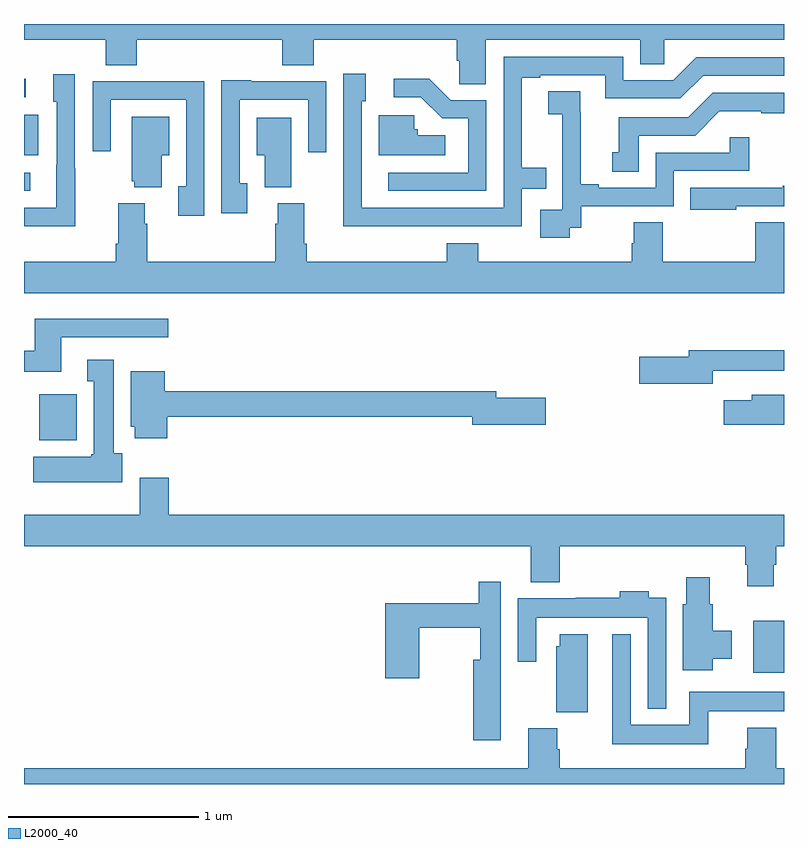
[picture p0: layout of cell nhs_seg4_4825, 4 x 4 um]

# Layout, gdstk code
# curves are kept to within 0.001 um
import gdstk
lib = gdstk.Library(unit=1e-6, precision=1e-09)
def R(c, l, rs):  # rectangles x0, y0, x1, y1
    for r in rs: c.add(gdstk.rectangle(r[:2], r[2:], *l))
def P(c, l, *ps):  # polygons
    for p in ps: c.add(gdstk.Polygon(p, *l))
L2000_40 = (2000, 40)

nhs_seg4_4825 = lib.new_cell('nhs_seg4_4825')
R(nhs_seg4_4825, L2000_40, [(374.837,797.486,375,797.758), (371.081,798.71,371.278,798.952), (371,800.022,371.032,800.118), (371,800.21,371.074,800.422), (371,800.514,371.008,800.612)])
P(nhs_seg4_4825, L2000_40, [(373.429,800.816),(374.243,800.816),(374.243,800.689),(374.37,800.689),(374.37,800.816),(375,800.816),(375,800.9),(371,800.9),(371,800.816),(371.429,800.816),(371.429,800.683),(371.594,800.683),(371.594,800.816),(372.359,800.816),(372.359,800.683),(372.524,800.683),(372.524,800.816),(373.277,800.816),(373.277,800.707),(373.29,800.707),(373.29,800.584),(373.429,800.584)],
  [(373.142,799.836),(373.62,799.836),(373.62,800.034),(373.748,800.034),(373.748,800.143),(373.621,800.143),(373.621,800.616),(373.717,800.616),(373.717,800.631),(374.058,800.631),(374.058,800.508),(374.454,800.508),(374.574,800.628),(375,800.628),(375,800.724),(374.538,800.724),(374.418,800.604),(374.154,800.604),(374.154,800.727),(373.524,800.727),(373.524,799.932),(372.777,799.932),(372.777,800.493),(372.799,800.493),(372.799,800.638),(372.681,800.638),(372.68,799.835)],
  [(371.271,800.141),(371.268,800.141),(371.268,800.635),(371.153,800.635),(371.153,800.49),(371.172,800.49),(371.172,800.159),(371.171,800.159),(371.171,799.932),(371,799.932),(371,799.835),(371.271,799.835)],
  [(373.434,800.499),(373.245,800.499),(373.132,800.612),(372.945,800.612),(372.945,800.514),(373.089,800.514),(373.2,800.403),(373.338,800.403),(373.338,800.118),(372.918,800.118),(372.918,800.022),(373.434,800.022)],
  [(372.175,800.061),(372.135,800.061),(372.135,800.502),(372.495,800.502),(372.495,800.226),(372.591,800.226),(372.591,800.598),(372.195,800.598),(372.195,800.605),(372.039,800.605),(372.039,799.905),(372.175,799.905)],
  [(371.949,800.6),(371.677,800.6),(371.677,800.598),(371.361,800.598),(371.361,800.229),(371.457,800.229),(371.457,800.502),(371.853,800.502),(371.853,800.046),(371.813,800.046),(371.813,799.89),(371.949,799.89)],
  [(373.872,799.827),(373.934,799.827),(373.934,799.941),(374.421,799.941),(374.421,800.127),(374.816,800.127),(374.816,800.305),(374.715,800.305),(374.715,800.223),(374.325,800.223),(374.325,800.037),(374.026,800.037),(374.026,800.057),(373.93,800.057),(373.93,800.435),(373.928,800.435),(373.928,800.546),(373.758,800.546),(373.758,800.425),(373.832,800.425),(373.832,800.227),(373.833,800.227),(373.833,799.923),(373.716,799.923),(373.716,799.776),(373.872,799.776)],
  [(374.236,800.313),(374.532,800.313),(374.66,800.441),(374.879,800.441),(374.879,800.43),(375,800.43),(375,800.538),(374.625,800.538),(374.496,800.409),(374.129,800.409),(374.129,800.226),(374.096,800.226),(374.096,800.122),(374.236,800.122)],
  [(373.216,800.314),(373.072,800.314),(373.072,800.346),(373.053,800.346),(373.053,800.421),(372.866,800.421),(372.866,800.21),(373.216,800.21)],
  [(371.725,800.21),(371.764,800.21),(371.764,800.413),(371.567,800.413),(371.567,800.073),(371.579,800.073),(371.579,800.042),(371.725,800.042)],
  [(372.406,800.407),(372.224,800.407),(372.224,800.21),(372.266,800.21),(372.266,800.041),(372.406,800.041)],
  [(374.749,799.941),(375,799.941),(375,800.05),(374.993,800.05),(374.993,800.037),(374.506,800.037),(374.506,799.922),(374.749,799.922)],
  [(375,799.856),(374.849,799.856),(374.849,799.648),(374.363,799.648),(374.363,799.856),(374.21,799.856),(374.21,799.746),(374.198,799.746),(374.198,799.648),(373.391,799.648),(373.391,799.747),(373.226,799.747),(373.226,799.648),(372.488,799.648),(372.488,799.744),(372.475,799.744),(372.475,799.956),(372.335,799.956),(372.335,799.85),(372.323,799.85),(372.323,799.648),(371.648,799.648),(371.648,799.85),(371.635,799.85),(371.635,799.957),(371.495,799.957),(371.495,799.744),(371.483,799.744),(371.483,799.648),(371,799.648),(371,799.484),(375,799.484)],
  [(371.197,799.251),(371.758,799.251),(371.758,799.348),(371.057,799.348),(371.057,799.18),(371,799.18),(371,799.07),(371.197,799.07)],
  [(374.626,799.074),(375,799.074),(375,799.183),(374.498,799.183),(374.498,799.149),(374.238,799.149),(374.238,799.007),(374.626,799.007)],
  [(371.518,798.642),(371.473,798.642),(371.473,799.132),(371.333,799.132),(371.333,799.019),(371.366,799.019),(371.366,798.636),(371.353,798.636),(371.353,798.622),(371.049,798.622),(371.049,798.488),(371.518,798.488)],
  [(371.753,798.832),(373.358,798.832),(373.358,798.79),(373.747,798.79),(373.747,798.932),(373.486,798.932),(373.486,798.968),(371.74,798.968),(371.74,799.072),(371.561,799.072),(371.561,798.78),(371.582,798.78),(371.582,798.72),(371.753,798.72)],
  [(375,798.948),(374.831,798.948),(374.831,798.919),(374.682,798.919),(374.682,798.79),(375,798.79)],
  [(374.947,798.054),(374.96,798.054),(374.96,798.152),(375,798.152),(375,798.316),(371.762,798.316),(371.762,798.511),(371.609,798.511),(371.609,798.316),(371,798.316),(371,798.152),(373.667,798.152),(373.667,797.963),(373.82,797.963),(373.82,798.152),(374.795,798.152),(374.795,798.054),(374.807,798.054),(374.807,797.94),(374.947,797.94)],
  [(374.626,797.558),(374.725,797.558),(374.725,797.706),(374.626,797.706),(374.626,797.847),(374.608,797.847),(374.608,797.989),(374.486,797.989),(374.486,797.847),(374.468,797.847),(374.468,797.499),(374.626,797.499)],
  [(373.51,797.45),(373.509,797.45),(373.509,797.965),(373.393,797.965),(373.393,797.851),(372.902,797.851),(372.902,797.457),(373.08,797.457),(373.08,797.722),(373.401,797.722),(373.401,797.554),(373.364,797.554),(373.364,797.13),(373.51,797.13)],
  [(374.379,797.881),(374.287,797.881),(374.287,797.914),(374.135,797.914),(374.135,797.881),(373.903,797.881),(373.903,797.878),(373.599,797.878),(373.599,797.544),(373.695,797.544),(373.695,797.774),(374.283,797.774),(374.283,797.297),(374.379,797.297)],
  [(374.6,797.282),(375,797.282),(375,797.386),(374.502,797.386),(374.502,797.212),(374.193,797.212),(374.193,797.689),(374.096,797.689),(374.096,797.108),(374.6,797.108)],
  [(373.966,797.689),(373.82,797.689),(373.82,797.625),(373.802,797.625),(373.802,797.278),(373.966,797.278)],
  [(375,796.984),(374.96,796.984),(374.96,797.197),(374.807,797.197),(374.807,797.085),(374.795,797.085),(374.795,796.984),(373.82,796.984),(373.82,797.084),(373.807,797.084),(373.807,797.193),(373.655,797.193),(373.655,796.984),(371,796.984),(371,796.9),(375,796.9)])

lib.write_gds('nhs_seg4_4825.gds')
